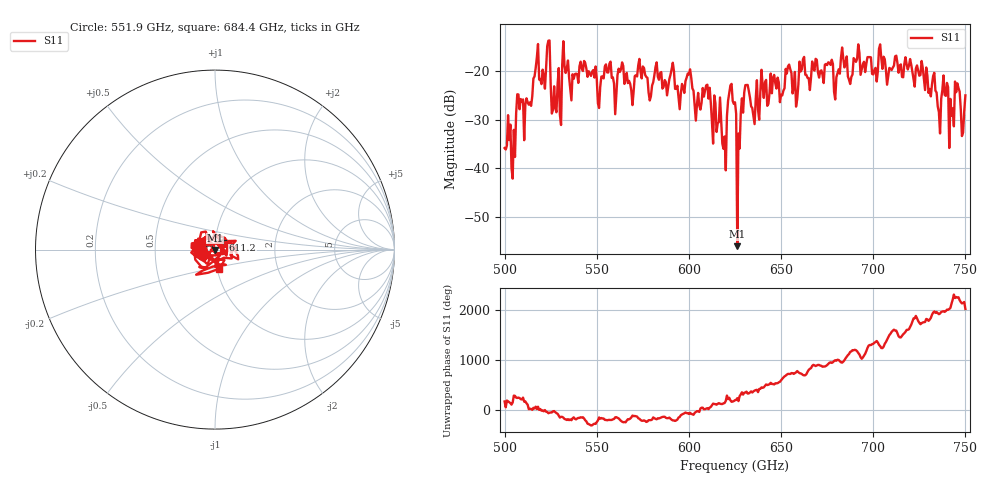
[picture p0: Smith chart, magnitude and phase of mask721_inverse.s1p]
!Created with skrf (http://scikit-rf.org).
# GHz S MA R 50.0
!freq magS11 angS11
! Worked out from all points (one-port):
!   401 points, 500 GHz to 750 GHz, reference 50 ohm
!   lowest |S11| = -56.0 dB at 626.2 GHz (marker M1), VSWR 1.00, Z = 49.9 - j0.138 ohm
!   |S11| at or under -10 dB: start of sweep to end of sweep
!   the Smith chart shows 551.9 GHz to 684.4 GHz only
!   S11 on the Smith chart (normalised r, x): 551.9 GHz: 0.87, -0.02; 611.2 GHz: 1.08, +0.11; 684.4 GHz: 1.02, -0.22
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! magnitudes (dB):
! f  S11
! 500 GHz  -35.8
! 505 GHz  -32.1
! 507.5 GHz  -24.8
! 511.9 GHz  -25.6
! 516.9 GHz  -19.3
! 523.8 GHz  -13.7
! 526.9 GHz  -23.1
! 531.2 GHz  -18.7
! 542.5 GHz  -20.0
! 551.9 GHz  -23.2
! 562.5 GHz  -20.2
! 593.8 GHz  -23.0
! 611.2 GHz  -23.4
! 618.8 GHz  -36.0
! 623.1 GHz  -22.6
! 625 GHz  -26.4
! 626.2 GHz  -56.0
! 631.2 GHz  -22.9
! 635 GHz  -29.2
! 656.2 GHz  -24.6
! 684.4 GHz  -19.2
! 687.5 GHz  -22.6
! 718.8 GHz  -19.7
! 735.6 GHz  -28.4
! 739.4 GHz  -25.1
! 742.5 GHz  -29.2
! 745.6 GHz  -22.5
! 750 GHz  -25.0
